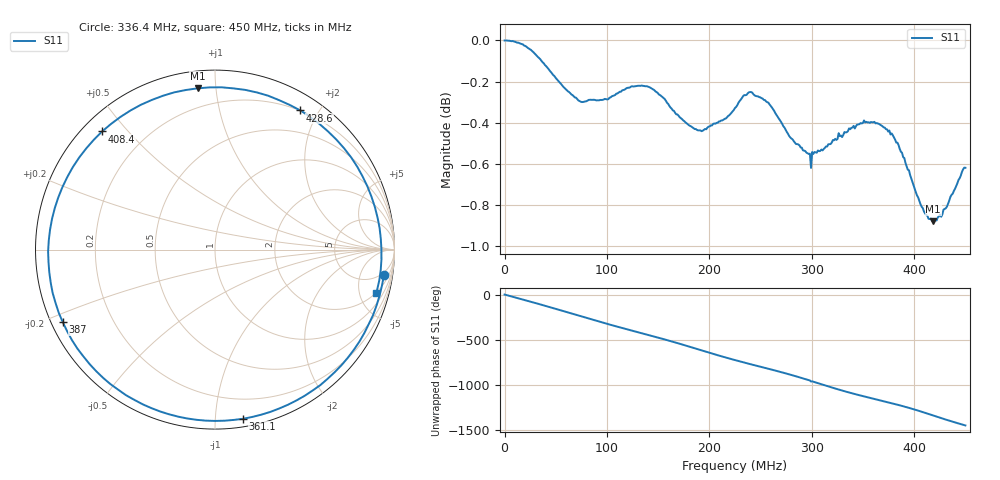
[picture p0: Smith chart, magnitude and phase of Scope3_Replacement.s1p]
! NanoVNA-App
! Date: 2026-10-05 12:10:25
! Start: 50kHz Stop: 450MHz Points: 401
! S-Parameter data: F S11
# Hz S RI R 50
!  Frequency  S11_Real  S11_Imag
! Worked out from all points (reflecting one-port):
!   401 points, 50 kHz to 450 MHz, reference 50 ohm
!   lowest |S11| = -0.9 dB at 418.5 MHz (marker M1), VSWR 19.77, Z = 4.56 + j44.7 ohm
!   phase of S11 starts at -0 deg and turns -1455 deg over the sweep
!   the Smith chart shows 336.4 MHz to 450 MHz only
!   S11 on the Smith chart (normalised r, x): 336.4 MHz: 4, -12; 361.1 MHz: 0.05, -1.18; 387 MHz: 0.03, -0.23; 408.4 MHz: 0.06, +0.43; 428.6 MHz: 0.20, +1.77; 450 MHz: 1.96, -7.08
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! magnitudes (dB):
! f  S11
! 50 kHz  0.0
! 25.92 MHz  0.0
! 56.29 MHz  -0.2
! 75.42 MHz  -0.3
! 99.04 MHz  -0.3
! 112.5 MHz  -0.2
! 126 MHz  -0.2
! 140.7 MHz  -0.2
! 154.2 MHz  -0.3
! 168.8 MHz  -0.4
! 192.4 MHz  -0.4
! 214.9 MHz  -0.4
! 225 MHz  -0.3
! 238.5 MHz  -0.3
! 249.8 MHz  -0.3
! 259.9 MHz  -0.3
! 281.3 MHz  -0.5
! 299.3 MHz  -0.6
! 336.4 MHz  -0.4
! 337.5 MHz  -0.4
! 361.1 MHz  -0.4
! 378 MHz  -0.5
! 387 MHz  -0.5
! 393.8 MHz  -0.6
! 408.4 MHz  -0.8
! 418.5 MHz  -0.9
! 428.6 MHz  -0.8
! 450 MHz  -0.6
